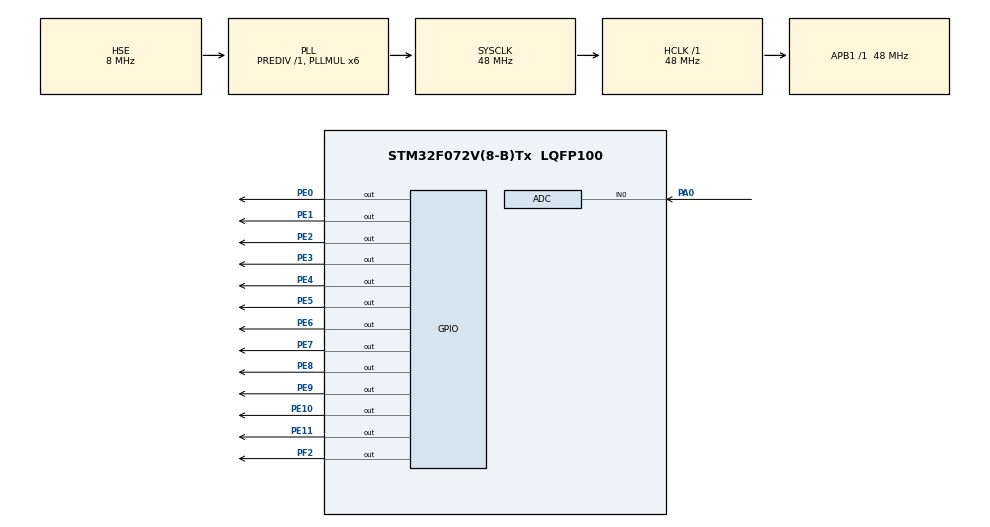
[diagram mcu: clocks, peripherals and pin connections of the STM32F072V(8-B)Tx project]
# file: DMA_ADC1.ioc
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ADC.ContinuousConvMode=ENABLE
ADC.DMAContinuousRequests=ENABLE
Dma.ADC.0.Direction=DMA_PERIPH_TO_MEMORY
Dma.ADC.0.Instance=DMA1_Channel1
Dma.ADC.0.MemDataAlignment=DMA_MDATAALIGN_HALFWORD
Dma.ADC.0.MemInc=DMA_MINC_DISABLE
Dma.ADC.0.Mode=DMA_CIRCULAR
Dma.ADC.0.PeriphDataAlignment=DMA_PDATAALIGN_HALFWORD
Dma.ADC.0.PeriphInc=DMA_PINC_DISABLE
Dma.ADC.0.Priority=DMA_PRIORITY_LOW
Dma.Request0=ADC
Mcu.Family=STM32F0
Mcu.Name=STM32F072V(8-B)Tx
Mcu.Package=LQFP100
NVIC.DMA1_Channel1_IRQn=true\:0\:0\:false\:false\:true
PA0.Mode=IN0
PA0.Signal=ADC_IN0
PE0.Signal=GPIO_Output
PE1.Signal=GPIO_Output
PE10.Signal=GPIO_Output
PE11.Signal=GPIO_Output
PE2.Signal=GPIO_Output
PE3.Signal=GPIO_Output
PE4.Signal=GPIO_Output
PE5.Signal=GPIO_Output
PE6.Signal=GPIO_Output
PE7.Signal=GPIO_Output
PE8.Signal=GPIO_Output
PE9.Signal=GPIO_Output
PF0-OSC_IN.Mode=HSE-External-Oscillator
PF0-OSC_IN.Signal=RCC_OSC_IN
PF1-OSC_OUT.Mode=HSE-External-Oscillator
PF1-OSC_OUT.Signal=RCC_OSC_OUT
PF2.Signal=GPIO_Output
ProjectManager.HeapSize=0x200
ProjectManager.StackSize=0x400
ProjectManager.TargetToolchain=MDK-ARM V5
RCC.AHBFreq_Value=48000000
RCC.APB1Freq_Value=48000000
RCC.APB1TimFreq_Value=48000000
RCC.HCLKFreq_Value=48000000
RCC.HSIState=RCC_HSI_ON
RCC.PLLMUL=RCC_PLL_MUL6
RCC.PLLSourceVirtual=RCC_PLLSOURCE_HSE
RCC.SYSCLKFreq_VALUE=48000000
RCC.SYSCLKSource=RCC_SYSCLKSOURCE_PLLCLK
board=DMA_ADC1

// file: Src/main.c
/**
  ******************************************************************************
  * File Name          : main.c
  * Description        : Main program body
  ******************************************************************************
  *
  * COPYRIGHT(c) 2018 STMicroelectronics
  *
  * Redistribution and use in source and binary forms, with or without modification,
  * are permitted provided that the following conditions are met:
  *   1. Redistributions of source code must retain the above copyright notice,
  *      this list of conditions and the following disclaimer.
  *   2. Redistributions in binary form must reproduce the above copyright notice,
  *      this list of conditions and the following disclaimer in the documentation
  *      and/or other materials provided with the distribution.
  *   3. Neither the name of STMicroelectronics nor the names of its contributors
  *      may be used to endorse or promote products derived from this software
  *      without specific prior written permission.
  *
  * THIS SOFTWARE IS PROVIDED BY THE COPYRIGHT HOLDERS AND CONTRIBUTORS "AS IS"
  * AND ANY EXPRESS OR IMPLIED WARRANTIES, INCLUDING, BUT NOT LIMITED TO, THE
  * IMPLIED WARRANTIES OF MERCHANTABILITY AND FITNESS FOR A PARTICULAR PURPOSE ARE
  * DISCLAIMED. IN NO EVENT SHALL THE COPYRIGHT HOLDER OR CONTRIBUTORS BE LIABLE
  * FOR ANY DIRECT, INDIRECT, INCIDENTAL, SPECIAL, EXEMPLARY, OR CONSEQUENTIAL
  * DAMAGES (INCLUDING, BUT NOT LIMITED TO, PROCUREMENT OF SUBSTITUTE GOODS OR
  * SERVICES; LOSS OF USE, DATA, OR PROFITS; OR BUSINESS INTERRUPTION) HOWEVER
  * CAUSED AND ON ANY THEORY OF LIABILITY, WHETHER IN CONTRACT, STRICT LIABILITY,
  * OR TORT (INCLUDING NEGLIGENCE OR OTHERWISE) ARISING IN ANY WAY OUT OF THE USE
  * OF THIS SOFTWARE, EVEN IF ADVISED OF THE POSSIBILITY OF SUCH DAMAGE.
  *
  ******************************************************************************
  */
#include "stm32f0xx_hal.h"

ADC_HandleTypeDef hadc;
DMA_HandleTypeDef hdma_adc;

/* USER CODE BEGIN PV */
/* Private variables ---------------------------------------------------------*/
HAL_StatusTypeDef status;      /* 定义HAL_StatusTypeDef类型变量 */
uint32_t  seg_number;          /* 定义数码管显示变量 */

/* USER CODE END PV */

void SystemClock_Config(void);
void Error_Handler(void);
static void MX_GPIO_Init(void);
static void MX_DMA_Init(void);
static void MX_ADC_Init(void);

/* USER CODE BEGIN PFP */
/* Private function prototypes -----------------------------------------------*/
void SEG_Display(uint32_t num);     /*  数码管显示函数  */

/* USER CODE END PFP */

/* USER CODE BEGIN 0 */
const uint8_t table0[]= {0x3f,0x06,0x5b,0x4f,0x66,0x6d,0x7d,0x07,0x7f,0x6f};  /* 共阴（无点）*/
const uint8_t table1[]= {0xbf,0x86,0xdb,0xcf,0xe6,0xed,0xfd,0x87,0xff,0xef};  /* 共阴（有点）*/

/* USER CODE END 0 */

int main(void)
{

  /* MCU Configuration----------------------------------------------------------*/

  /* Reset of all peripherals, Initializes the Flash interface and the Systick. */
  HAL_Init();

  /* Configure the system clock */
  SystemClock_Config();

  /* Initialize all configured peripherals */
  MX_GPIO_Init();
  MX_DMA_Init();
  MX_ADC_Init();

  /* USER CODE BEGIN 2 */

	/* ADC校准 */
	status = HAL_ADCEx_Calibration_Start ( &hadc );
	/* 使能ADC模块并且发送DMA请求 */
	status = HAL_ADC_Start_DMA ( &hadc, &seg_number,65535);
	/* 启动DMA */
	status = HAL_DMA_Start  ( &hdma_adc, ADC1->DR, seg_number, 65535 );

  /* USER CODE END 2 */

  /* Infinite loop */
  /* USER CODE BEGIN WHILE */
  while (1)
  {
		/* 数码管显示接收数据 */
		SEG_Display(seg_number);

  /* USER CODE END WHILE */

  }

}

/** System Clock Configuration
*/
void SystemClock_Config(void)
{

  RCC_OscInitTypeDef RCC_OscInitStruct;
  RCC_ClkInitTypeDef RCC_ClkInitStruct;

  RCC_OscInitStruct.OscillatorType = RCC_OSCILLATORTYPE_HSI14|RCC_OSCILLATORTYPE_HSE;
  RCC_OscInitStruct.HSEState = RCC_HSE_ON;
  RCC_OscInitStruct.HSI14State = RCC_HSI14_ON;
  RCC_OscInitStruct.HSI14CalibrationValue = 16;
  RCC_OscInitStruct.PLL.PLLState = RCC_PLL_ON;
  RCC_OscInitStruct.PLL.PLLSource = RCC_PLLSOURCE_HSE;
  RCC_OscInitStruct.PLL.PLLMUL = RCC_PLL_MUL6;
  RCC_OscInitStruct.PLL.PREDIV = RCC_PREDIV_DIV1;
  if (HAL_RCC_OscConfig(&RCC_OscInitStruct) != HAL_OK)
  {
    Error_Handler();
  }

  RCC_ClkInitStruct.ClockType = RCC_CLOCKTYPE_HCLK|RCC_CLOCKTYPE_SYSCLK
                              |RCC_CLOCKTYPE_PCLK1;
  RCC_ClkInitStruct.SYSCLKSource = RCC_SYSCLKSOURCE_PLLCLK;
  RCC_ClkInitStruct.AHBCLKDivider = RCC_SYSCLK_DIV1;
  RCC_ClkInitStruct.APB1CLKDivider = RCC_HCLK_DIV1;
  if (HAL_RCC_ClockConfig(&RCC_ClkInitStruct, FLASH_LATENCY_1) != HAL_OK)
  {
    Error_Handler();
  }

  HAL_SYSTICK_Config(HAL_RCC_GetHCLKFreq()/1000);

  HAL_SYSTICK_CLKSourceConfig(SYSTICK_CLKSOURCE_HCLK);

  /* SysTick_IRQn interrupt configuration */
  HAL_NVIC_SetPriority(SysTick_IRQn, 0, 0);
}

/* ADC init function */
static void MX_ADC_Init(void)
{

  ADC_ChannelConfTypeDef sConfig;

    /**Configure the global features of the ADC (Clock, Resolution, Data Alignment and number of conversion)
    */
  hadc.Instance = ADC1;
  hadc.Init.ClockPrescaler = ADC_CLOCK_ASYNC_DIV1;
  hadc.Init.Resolution = ADC_RESOLUTION_12B;
  hadc.Init.DataAlign = ADC_DATAALIGN_RIGHT;
  hadc.Init.ScanConvMode = ADC_SCAN_DIRECTION_FORWARD;
  hadc.Init.EOCSelection = ADC_EOC_SINGLE_CONV;
  hadc.Init.LowPowerAutoWait = DISABLE;
  hadc.Init.LowPowerAutoPowerOff = DISABLE;
  hadc.Init.ContinuousConvMode = ENABLE;
  hadc.Init.DiscontinuousConvMode = DISABLE;
  hadc.Init.ExternalTrigConvEdge = ADC_EXTERNALTRIGCONVEDGE_NONE;
  hadc.Init.DMAContinuousRequests = ENABLE;
  hadc.Init.Overrun = ADC_OVR_DATA_PRESERVED;
  if (HAL_ADC_Init(&hadc) != HAL_OK)
  {
    Error_Handler();
  }

    /**Configure for the selected ADC regular channel to be converted.
    */
  sConfig.Channel = ADC_CHANNEL_0;
  sConfig.Rank = ADC_RANK_CHANNEL_NUMBER;
  sConfig.SamplingTime = ADC_SAMPLETIME_1CYCLE_5;
  if (HAL_ADC_ConfigChannel(&hadc, &sConfig) != HAL_OK)
  {
    Error_Handler();
  }

}

static void MX_DMA_Init(void)
{
  /* DMA controller clock enable */
  __HAL_RCC_DMA1_CLK_ENABLE();

  /* DMA interrupt init */
  /* DMA1_Channel1_IRQn interrupt configuration */
  HAL_NVIC_SetPriority(DMA1_Channel1_IRQn, 0, 0);
  HAL_NVIC_EnableIRQ(DMA1_Channel1_IRQn);

}

/** Configure pins as
        * Analog
        * Input
        * Output
        * EVENT_OUT
        * EXTI
*/
static void MX_GPIO_Init(void)
{

  GPIO_InitTypeDef GPIO_InitStruct;

  /* GPIO Ports Clock Enable */
  __HAL_RCC_GPIOE_CLK_ENABLE();
  __HAL_RCC_GPIOF_CLK_ENABLE();
  __HAL_RCC_GPIOA_CLK_ENABLE();

  /*Configure GPIO pin Output Level */
  HAL_GPIO_WritePin(GPIOE, GPIO_PIN_2|GPIO_PIN_3|GPIO_PIN_4|GPIO_PIN_5
                          |GPIO_PIN_6|GPIO_PIN_7|GPIO_PIN_8|GPIO_PIN_9
                          |GPIO_PIN_10|GPIO_PIN_11|GPIO_PIN_0|GPIO_PIN_1, GPIO_PIN_RESET);

  /*Configure GPIO pin Output Level */
  HAL_GPIO_WritePin(GPIOF, GPIO_PIN_2, GPIO_PIN_RESET);

  /*Configure GPIO pins : PE2 PE3 PE4 PE5
                           PE6 PE7 PE8 PE9
                           PE10 PE11 PE0 PE1 */
  GPIO_InitStruct.Pin = GPIO_PIN_2|GPIO_PIN_3|GPIO_PIN_4|GPIO_PIN_5
                          |GPIO_PIN_6|GPIO_PIN_7|GPIO_PIN_8|GPIO_PIN_9
                          |GPIO_PIN_10|GPIO_PIN_11|GPIO_PIN_0|GPIO_PIN_1;
  GPIO_InitStruct.Mode = GPIO_MODE_OUTPUT_PP;
  GPIO_InitStruct.Pull = GPIO_NOPULL;
  GPIO_InitStruct.Speed = GPIO_SPEED_FREQ_LOW;
  HAL_GPIO_Init(GPIOE, &GPIO_InitStruct);

  /*Configure GPIO pin : PF2 */
  GPIO_InitStruct.Pin = GPIO_PIN_2;
  GPIO_InitStruct.Mode = GPIO_MODE_OUTPUT_PP;
  GPIO_InitStruct.Pull = GPIO_NOPULL;
  GPIO_InitStruct.Speed = GPIO_SPEED_FREQ_LOW;
  HAL_GPIO_Init(GPIOF, &GPIO_InitStruct);

}

/* USER CODE BEGIN 4 */

/*  数码管显示函数  */
void SEG_Display(uint32_t num)
{
	/* 取出四位数显示值 */
  uint8_t GeWei,ShiWei,BaiWei,QianWei;
	GeWei   = (uint8_t)(num%10);
	ShiWei  = (uint8_t)(num%100/10);
	BaiWei  = (uint8_t)(num%1000/100);
	QianWei = (uint8_t)(num/1000);

	/* 使能数码管位驱动  */
	HAL_GPIO_WritePin(GPIOF,GPIO_PIN_2,GPIO_PIN_RESET);

	/* 显示个位 */
	GPIOE->ODR |= (uint16_t)(table0[GeWei]);
	/* 使能个位 */
	HAL_GPIO_WritePin(GPIOE,GPIO_PIN_9|GPIO_PIN_10|GPIO_PIN_11,GPIO_PIN_SET);
	HAL_GPIO_WritePin(GPIOE,GPIO_PIN_8,GPIO_PIN_RESET);
	HAL_Delay(3);
	/* 消隐 */
  GPIOE->ODR &= 0xFF00;
	GPIOE->ODR |= 0x0F00;
	HAL_Delay(1);

	/* 显示十位 */
	GPIOE->ODR |= (uint16_t)(table0[ShiWei]);
	/* 使能十位 */
	HAL_GPIO_WritePin(GPIOE,GPIO_PIN_8|GPIO_PIN_10|GPIO_PIN_11,GPIO_PIN_SET);
	HAL_GPIO_WritePin(GPIOE,GPIO_PIN_9,GPIO_PIN_RESET);
	HAL_Delay(3);
	/* 消隐 */
  GPIOE->ODR &= 0xFF00;
	GPIOE->ODR |= 0x0F00;
	HAL_Delay(1);

	/* 显示百位 */
	GPIOE->ODR |= (uint16_t)(table0[BaiWei]);
	/* 使能百位 */
	HAL_GPIO_WritePin(GPIOE,GPIO_PIN_8|GPIO_PIN_9|GPIO_PIN_11,GPIO_PIN_SET);
	HAL_GPIO_WritePin(GPIOE,GPIO_PIN_10,GPIO_PIN_RESET);
	HAL_Delay(3);
	/* 消隐 */
  GPIOE->ODR &= 0xFF00;
	GPIOE->ODR |= 0x0F00;
	HAL_Delay(1);

	/* 显示千位 */
	GPIOE->ODR |= (uint16_t)(table0[QianWei]);
	/* 使能千位 */
	HAL_GPIO_WritePin(GPIOE,GPIO_PIN_8|GPIO_PIN_9|GPIO_PIN_10,GPIO_PIN_SET);
	HAL_GPIO_WritePin(GPIOE,GPIO_PIN_11,GPIO_PIN_RESET);
	HAL_Delay(3);
	/* 消隐 */
  GPIOE->ODR &= 0xFF00;
	GPIOE->ODR |= 0x0F00;
	HAL_Delay(1);
}

/* USER CODE END 4 */

void Error_Handler(void)
{
  while(1)
  {
  }
}

/************************ (C) COPYRIGHT STMicroelectronics *****END OF FILE****/
